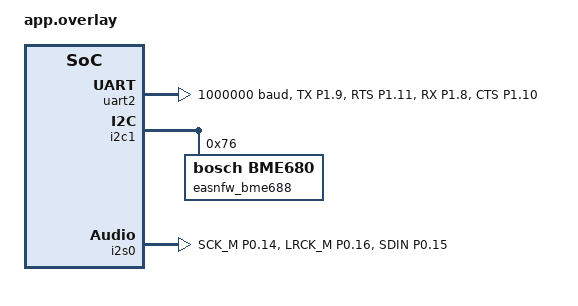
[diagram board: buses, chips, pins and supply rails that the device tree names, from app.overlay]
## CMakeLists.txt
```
cmake_minimum_required(VERSION 3.20.0)

find_package(Zephyr)
project(EASN_FW)

target_include_directories(app PRIVATE
	include
	../../shared
)

target_sources(app PRIVATE
	src/main.c
	src/application/sampling.c
	src/application/audio_processing.c
	src/application/storage.c
	src/application/cloud_link.c
	src/domain/audio_sampling.c
	src/domain/env_sampling.c
	src/domain/audio_algo.c
	src/domain/pipeline.c
	src/domain/interfw_link.c
	src/domain/reset.c
	src/domain/selftest.c
	src/domain/time_sync.c
	src/platform/audio_sensor_drv.c
	src/platform/env_sensor_drv.c
	src/platform/mass_storage.c
	src/platform/nvs.c
	src/platform/uart.c
)

target_sources_ifdef(CONFIG_EASNFW_IMAGE_TYPE_HIL app PRIVATE
	src/verif/cli.c
	src/verif/test_cases.c
)
```

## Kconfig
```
mainmenu "EASNFW-SENSOR"

menu "EASNFW-SENSOR image"

choice EASNFW_IMAGE_TYPE
	prompt "Image type"
	default EASNFW_IMAGE_TYPE_DEVELOPMENT

config EASNFW_IMAGE_TYPE_PRODUCTION
	bool "Production image"

config EASNFW_IMAGE_TYPE_DEVELOPMENT
	bool "Development image"

config EASNFW_IMAGE_TYPE_DEBUG
	bool "Debug image"

config EASNFW_IMAGE_TYPE_HIL
	bool "HIL verification image"
	depends on SHELL && SHELL_BACKEND_SERIAL && REBOOT

endchoice

config EASNFW_VERIFICATION_CODE
	def_bool EASNFW_IMAGE_TYPE_HIL

config EASNFW_TRACK_LEN_SECONDS
	int "Audio track duration (seconds)"
	default 60
	range 1 3600

config EASNFW_INTER_TRACK_INTERVAL_SECONDS
	int "Interval between audio tracks (seconds)"
	default 840
	range 0 86400

config EASNFW_MAX_RECOVERY_RESETS
	int "Reset-history capacity"
	default 5
	range 1 32

config EASNFW_RECOVERY_RESET_WINDOW_SECONDS
	int "Recovery reset stability window (seconds)"
	default 120
	range 1 86400

config EASNFW_UTC_SYNC_RETRY_SECONDS
	int "Retry interval while waiting for UTC synchronization (seconds)"
	default 30
	range 1 3600

config EASNFW_AUDIO_SAMPLE_RATE_HZ
	int "Audio sample rate (Hz)"
	default 48000
	range 8000 96000

config EASNFW_AUDIO_SAMPLES_PER_BLOCK
	int "Audio samples per processing block"
	default 1536
	range 64 8192

config EASNFW_IFL_RX_MSGQ_SIZE
	int "Inter-FW link receive queue depth"
	default 8
	range 1 32

endmenu

menuconfig EASNFW_IFL_UART
	bool "EASNFW UART link"
	default y
	depends on SERIAL && UART_ASYNC_API && RING_BUFFER
	depends on UART_2_ASYNC && UART_USE_RUNTIME_CONFIGURE

if EASNFW_IFL_UART

config EASNFW_IFL_UART_MAX_PAYLOAD
	int "Max payload bytes per frame"
	default 512
	range 16 4096

config EASNFW_IFL_UART_ACK_TIMEOUT_MS
	int "ACK timeout (ms)"
	default 100
	range 5 5000

config EASNFW_IFL_UART_MAX_RETRIES
	int "Max retransmissions"
	default 10
	range 0 20

config EASNFW_IFL_UART_RX_INTERBYTE_TIMEOUT_MS
	int "RX idle timeout (ms)"
	default 2
	range 1 1000

config EASNFW_IFL_UART_RX_RING_BUF_SIZE
	int "RX ring buffer size (bytes)"
	default 2048
	help
	  Size for worst-case service latency at the configured baud rate.

endif # EASNFW_IFL_UART

source "Kconfig.zephyr"
```

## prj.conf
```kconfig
CONFIG_MAIN_STACK_SIZE=4096
CONFIG_SYSTEM_WORKQUEUE_STACK_SIZE=2048

CONFIG_LOG=y
CONFIG_LOG_DEFAULT_LEVEL=3
CONFIG_LOG_BACKEND_UART=y

CONFIG_I2S=y
CONFIG_I2S_NRFX=y
CONFIG_SENSOR=y
CONFIG_BME680=y

CONFIG_FLASH=y
CONFIG_FLASH_MAP=y
CONFIG_STREAM_FLASH=y
CONFIG_IMG_MANAGER=y
CONFIG_MCUBOOT_IMG_MANAGER=y
CONFIG_NVS=y
CONFIG_MPU_ALLOW_FLASH_WRITE=y

CONFIG_DISK_ACCESS=y
CONFIG_DISK_DRIVER_SDMMC=y
CONFIG_SDMMC_SUBSYS=y
CONFIG_FILE_SYSTEM=y
CONFIG_FAT_FILESYSTEM_ELM=y
CONFIG_FS_FATFS_LFN=y
CONFIG_FS_FATFS_MAX_LFN=64

CONFIG_EASNFW_IFL_UART=y
CONFIG_SERIAL=y
CONFIG_UART_ASYNC_API=y
CONFIG_UART_2_INTERRUPT_DRIVEN=n
CONFIG_UART_2_ASYNC=y
CONFIG_UART_USE_RUNTIME_CONFIGURE=y
CONFIG_RING_BUFFER=y

CONFIG_REBOOT=y
CONFIG_HWINFO=y

# Entropy source for record identifiers (sys_rand32_get).
CONFIG_ENTROPY_GENERATOR=y
```

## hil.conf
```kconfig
CONFIG_EASNFW_IMAGE_TYPE_HIL=y
CONFIG_SHELL=y
CONFIG_SHELL_BACKEND_SERIAL=y
CONFIG_SHELL_STACK_SIZE=6144
CONFIG_REBOOT=y

# Route application logs through the shell's UART backend. The independent
# UART log backend writes to the same UART0 and can interleave with shell TX.
CONFIG_LOG_BACKEND_UART=n
CONFIG_SHELL_LOG_BACKEND=y
```

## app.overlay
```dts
&pinctrl {
    uart2_default: uart2_default {
        group1 {
            psels = <NRF_PSEL(UART_TX, 1, 9)>,
                    <NRF_PSEL(UART_RTS, 1, 11)>;
        };
        group2 {
            psels = <NRF_PSEL(UART_RX, 1, 8)>,
                    <NRF_PSEL(UART_CTS, 1, 10)>;
            bias-pull-up;
        };
    };

    uart2_sleep: uart2_sleep {
        group1 {
            psels = <NRF_PSEL(UART_TX, 1, 9)>,
                    <NRF_PSEL(UART_RX, 1, 8)>,
                    <NRF_PSEL(UART_RTS, 1, 11)>,
                    <NRF_PSEL(UART_CTS, 1, 10)>;
            low-power-enable;
        };
    };
};

&uart2 {
    status = "okay";
    current-speed = <1000000>;
    hw-flow-control;
    pinctrl-0 = <&uart2_default>;
    pinctrl-1 = <&uart2_sleep>;
    pinctrl-names = "default", "sleep";
};

/*
 * The external BME688 uses the Zephyr BME680-compatible driver on the Audio
 * DK Arduino I2C connector. Confirm the external sensor address and wiring
 * before deployment.
 */
&i2c1 {
	status = "okay";

	easnfw_bme688: bme688@76 {
		compatible = "bosch,bme680";
		reg = <0x76>;
		status = "okay";
	};
};

/*
 * Route I2S0 to the DMM-4026-B-I2S-R on the Audio DK P10 header, matching
 * the known-good mic_testbed wiring.
 */
&gpio0 {
	codec-interface {
		/delete-property/ output-low;
		output-high;
	};
};

&pinctrl {
	easnfw_i2s0_default: easnfw_i2s0_default {
		group1 {
			psels = <NRF_PSEL(I2S_SCK_M, 0, 14)>,
				<NRF_PSEL(I2S_LRCK_M, 0, 16)>,
				<NRF_PSEL(I2S_SDIN, 0, 15)>;
		};
	};

	easnfw_i2s0_sleep: easnfw_i2s0_sleep {
		group1 {
			psels = <NRF_PSEL(I2S_SCK_M, 0, 14)>,
				<NRF_PSEL(I2S_LRCK_M, 0, 16)>,
				<NRF_PSEL(I2S_SDIN, 0, 15)>;
			low-power-enable;
		};
	};
};

&i2s0 {
	status = "okay";
	pinctrl-0 = <&easnfw_i2s0_default>;
	pinctrl-1 = <&easnfw_i2s0_sleep>;
	pinctrl-names = "default", "sleep";
};

/ {
    chosen {
        easnfw,interfw-link-uart = &uart2;
        easnfw,environment-sensor = &easnfw_bme688;
    };
};

/*
 * The Audio DK board controller enables hardware flow control on VCOM0. Without
 * it on the nRF5340 side, console output (including MCUboot's) loses characters.
 */
&uart0 {
	hw-flow-control;
};
```

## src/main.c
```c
#include <stdbool.h>
#include <zephyr/kernel.h>
#include <zephyr/logging/log.h>
#include <zephyr/sys/printk.h>
#ifdef CONFIG_BOOTLOADER_MCUBOOT
#include <zephyr/dfu/mcuboot.h>
#endif

#include <easnfw/config.h>
#include <easnfw/audio_processing.h>
#include <easnfw/cloud_link.h>
#include <easnfw/interfw_link.h>
#include <easnfw/pipeline.h>
#include <easnfw/reset.h>
#include <easnfw/sampling.h>
#include <easnfw/selftest.h>
#include <easnfw/storage.h>
#include <easnfw/time_sync.h>

#ifdef CONFIG_EASNFW_VERIFICATION_CODE
#include "verif/cli.h"
#endif /* CONFIG_EASNFW_VERIFICATION_CODE */

LOG_MODULE_REGISTER(easnfw_sensor, LOG_LEVEL_INF);

int main(void)
{
	LOG_INF("EASNFW-SENSOR application code under execution");

#ifdef CONFIG_EASNFW_VERIFICATION_CODE
	LOG_INF("CLI_H starting");
	cli__wait_for_shell_ready();
#else
	int err;
	bool selftest_ok = true;

	LOG_INF("EASNFW-SENSOR starting");
	err = reset__capture_startup_reason();
	if (err != 0) {
		LOG_ERR("Could not capture SENSOR reset cause: %d", err);
	}
	err = selftest__run();
	if (err != 0) {
		selftest_ok = false;
		reset__diagnostic_state(err, NULL);
	}
	reset__start_recovery_counter_timer();
#ifdef CONFIG_BOOTLOADER_MCUBOOT
	/*
	 * The self-test sequence includes the IFL PING handshake with
	 * EASNFW-CLOUD. A new image is confirmed only when it passes, so a
	 * reboot reverts an image that cannot reach its peer. Cellular UTC is
	 * deliberately not part of the criterion.
	 */
	if (selftest_ok) {
		err = boot_write_img_confirmed();
		if (err != 0) {
			LOG_ERR("Could not confirm MCUboot image: %d", err);
		}
	} else {
		LOG_ERR("Self-test failed; MCUboot image left unconfirmed");
	}
#endif

	(void)app_utc_time__acquire(K_SECONDS(30),
				    CONFIG_EASNFW_UTC_SYNC_RETRY_SECONDS,
				    K_FOREVER, NULL);
	err = reset__history_update();
	if (err != 0) {
		LOG_ERR("Reset history update failed: %d", err);
	}
	sampling_start();
	audio_processing_start();
	storage_start();
	cloud_link_start();
	LOG_INF("EASNFW-SENSOR ready");
	return 0;
#endif /* CONFIG_EASNFW_VERIFICATION_CODE */
}
```
